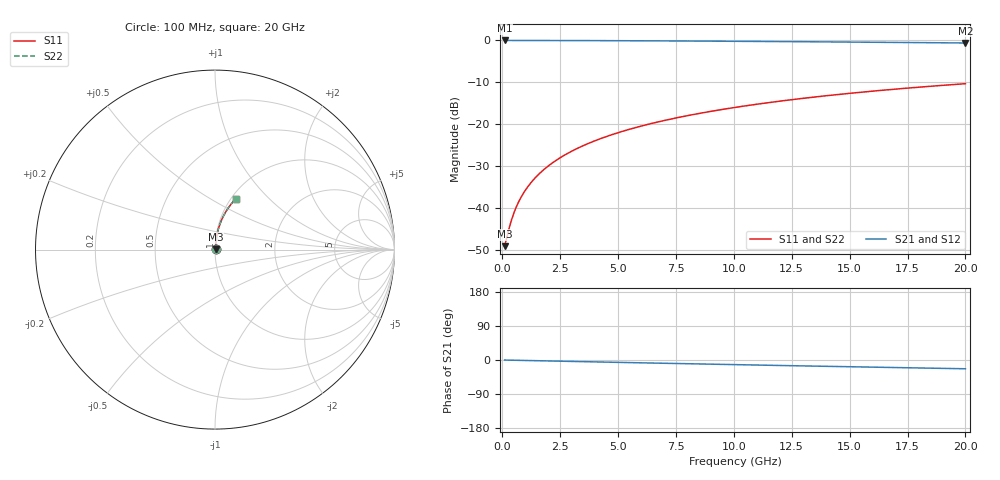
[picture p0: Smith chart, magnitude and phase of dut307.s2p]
! Touchstone file exported from HFSS 2024.1.0
!  File:  C:/UserFiles/LocalFiles/RDL_TSV_Batchsim/temp_RDL_top_307_1779606377.aedt
!  Generated:  03:08:58 PM May 24, 2026
!  Design:  RDL_top
!  Project:  temp_RDL_top_307_1779606377
!  Setup:  Setup1
!  Solution:  Sweep
! Variables:
!  dtsv = 10.80580581um
!  hbump = 3um
!  htsv = 71.86um
!  ldown = 100um
!  lrdl = 253.21um
!  p = 40
!  p1 = 45.05um
!  rhole = 1um
!  t = 450um
!  tdown = 3.915915916um
!  trdl = 2.96um
!  wdown = 15.38538539um
!  wrdl = 10.24um
# GHz S MA R 50.000000
! Terminal data exported
! Port[1] = Box2_T1
! Port[2] = Box2_T2
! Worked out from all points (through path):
!   200 points, 100 MHz to 20 GHz, reference 50 ohm
!   highest |S21| = -0.03 dB at 100 MHz (marker M1); lowest = -0.6 dB at 20 GHz (marker M2)
!   group delay of S21, straight-line fit = 3.21 ps
!   lowest |S11| = -49.1 dB at 100 MHz (marker M3), VSWR 1.01, Z = 50.3 + j0.164 ohm
!   |S11| at or under -10 dB: start of sweep to end of sweep
!   |S22| runs from -49.1 to -10.3 dB; largest |S21 - S12| = 5.3e-15
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0.1  0.0035 27.7  0.9969 -0.1  0.9969 -0.1  0.0035 27.7
! Gamma 0 0 0 0
! Port Impedance 50 0 50 0
0.3  0.005803 56.9  0.9968 -0.4  0.9968 -0.4  0.005803 56.9
0.4  0.007222 63.5  0.9968 -0.5  0.9968 -0.5  0.007222 63.5
0.5  0.008699 67.8  0.9967 -0.6  0.9967 -0.6  0.008699 67.8
0.6  0.0102 70.8  0.9967 -0.8  0.9967 -0.8  0.0102 70.8
0.7  0.01172 73.1  0.9966 -0.9  0.9966 -0.9  0.01173 73.1
0.9  0.01479 76.1  0.9964 -1.2  0.9964 -1.2  0.01479 76.1
1.2  0.01943 78.8  0.9962 -1.5  0.9962 -1.5  0.01943 78.8
1.4  0.02254 79.9  0.996 -1.8  0.996 -1.8  0.02254 79.9
1.7  0.02722 81.0  0.9958 -2.2  0.9958 -2.2  0.02722 81.0
2.2  0.03505 82.1  0.9952 -2.8  0.9952 -2.8  0.03505 82.1
2.8  0.04447 82.7  0.9945 -3.5  0.9945 -3.5  0.04447 82.7
3.5  0.05548 82.9  0.9934 -4.4  0.9934 -4.4  0.05548 82.9
4.2  0.06651 82.7  0.9921 -5.3  0.9921 -5.3  0.06651 82.7
5  0.07912 82.4  0.9903 -6.3  0.9903 -6.3  0.07912 82.4
5.9  0.09332 81.8  0.9881 -7.3  0.9881 -7.3  0.09332 81.8
6.8  0.1075 81.1  0.9856 -8.4  0.9856 -8.4  0.1075 81.1
8.3  0.1311 79.8  0.9809 -10.2  0.9809 -10.2  0.1311 79.8
10.1  0.1591 78.1  0.9745 -12.3  0.9745 -12.3  0.1591 78.1
13.4  0.2095 74.7  0.9612 -16.1  0.9612 -16.1  0.2095 74.7
16.7  0.2579 71.3  0.9462 -19.7  0.9462 -19.7  0.2579 71.3
20  0.3039 67.9  0.93 -23.2  0.93 -23.2  0.3039 67.9
